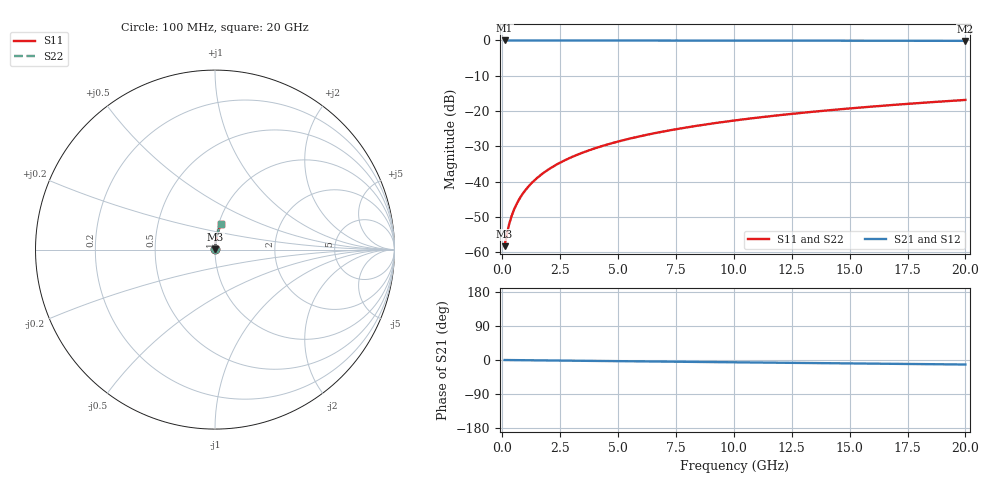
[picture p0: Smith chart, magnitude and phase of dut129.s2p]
! Touchstone file exported from HFSS 2026.1.0
!  File:  C:/ffzhzh/LocalFiles/Ansys_Project_Files/temp_train_BSMRDL_129_1782986166_42984.aedt
!  Generated:  05:57:28 PM Jul  2, 2026
!  Design:  BSMRDL
!  Project:  temp_train_BSMRDL_129_1782986166_42984
! Variables:
!  h_bsmrdl = 2.83um
!  h_ox = 20um
!  h_rdl = 5um
!  h_sub = 80um
!  h_tmrdl = 5um
!  h_tsv = 80um
!  h_via = 3um
!  l_bsmrdl = 109.18um
!  l_sub = 509.18um
!  l_tmrdl = 200um
!  m_sub = 200um
!  pitch = 55.47um
!  r_tsv = 6um
!  s_tmrdl = 10um
!  w_bsmrdl = 21.1um
!  w_sub = 500um
!  w_tmrdl = 12um
!  x_tsv_center1 = 206um
!  x_tsv_center2 = 336.28um
!  x_tsv_center3 = 548.28um
!  x_tsv_center4 = 678.56um
!  x_tsv_center5 = 890.56um
!  x_tsv_center6 = 1020.84um
# GHz S MA R 50.000000
! Terminal data exported
! Port[1] = BSM_RDL1_1_T1
! Port[2] = BSM_RDL1_1_T2
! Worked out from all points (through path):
!   200 points, 100 MHz to 20 GHz, reference 50 ohm
!   highest |S21| = -0.01 dB at 100 MHz (marker M1); lowest = -0.1 dB at 20 GHz (marker M2)
!   group delay of S21, straight-line fit = 1.65 ps
!   lowest |S11| = -58.2 dB at 100 MHz (marker M3), VSWR 1.00, Z = 50.1 + j0.0789 ohm
!   |S11| at or under -10 dB: start of sweep to end of sweep
!   |S22| runs from -58.2 to -16.8 dB; largest |S21 - S12| = 2e-15
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0.1  0.001225 40.0  0.9991 -0.1  0.9991 -0.1  0.001225 40.0
! Gamma 0 0 0 0
! Port Impedance 50 0 50 0
0.2  0.00184 58.4  0.999 -0.1  0.999 -0.1  0.00184 58.4
0.3  0.002537 66.8  0.999 -0.2  0.999 -0.2  0.002537 66.8
0.4  0.003256 71.5  0.999 -0.3  0.999 -0.3  0.003256 71.5
0.5  0.00398 74.4  0.9989 -0.3  0.9989 -0.3  0.00398 74.4
0.6  0.004706 76.5  0.9989 -0.4  0.9989 -0.4  0.004706 76.5
0.8  0.00616 79.1  0.9989 -0.5  0.9989 -0.5  0.00616 79.1
1.1  0.00835 81.4  0.9988 -0.7  0.9988 -0.7  0.00835 81.5
1.5  0.01128 83.1  0.9988 -0.9  0.9988 -0.9  0.01128 83.1
1.8  0.01349 83.8  0.9987 -1.1  0.9987 -1.1  0.01349 83.8
2.1  0.0157 84.3  0.9987 -1.3  0.9987 -1.3  0.0157 84.3
2.7  0.02013 84.8  0.9985 -1.6  0.9985 -1.6  0.02013 84.8
3.5  0.02604 85.0  0.9983 -2.1  0.9983 -2.1  0.02604 85.0
4.2  0.0312 84.9  0.9981 -2.6  0.9981 -2.6  0.0312 84.9
5  0.03708 84.7  0.9979 -3.0  0.9979 -3.0  0.03708 84.7
5.9  0.04368 84.4  0.9975 -3.6  0.9975 -3.6  0.04368 84.4
6.8  0.05026 84.0  0.9971 -4.1  0.9971 -4.1  0.05026 84.0
8.3  0.06117 83.2  0.9963 -5.0  0.9963 -5.0  0.06117 83.2
10.1  0.07417 82.3  0.9952 -6.1  0.9952 -6.1  0.07417 82.3
13.4  0.09774 80.5  0.9927 -8.0  0.9927 -8.0  0.09774 80.5
16.7  0.121 78.7  0.9898 -10.0  0.9898 -10.0  0.121 78.7
20  0.1438 76.8  0.9864 -11.9  0.9864 -11.9  0.1438 76.8
